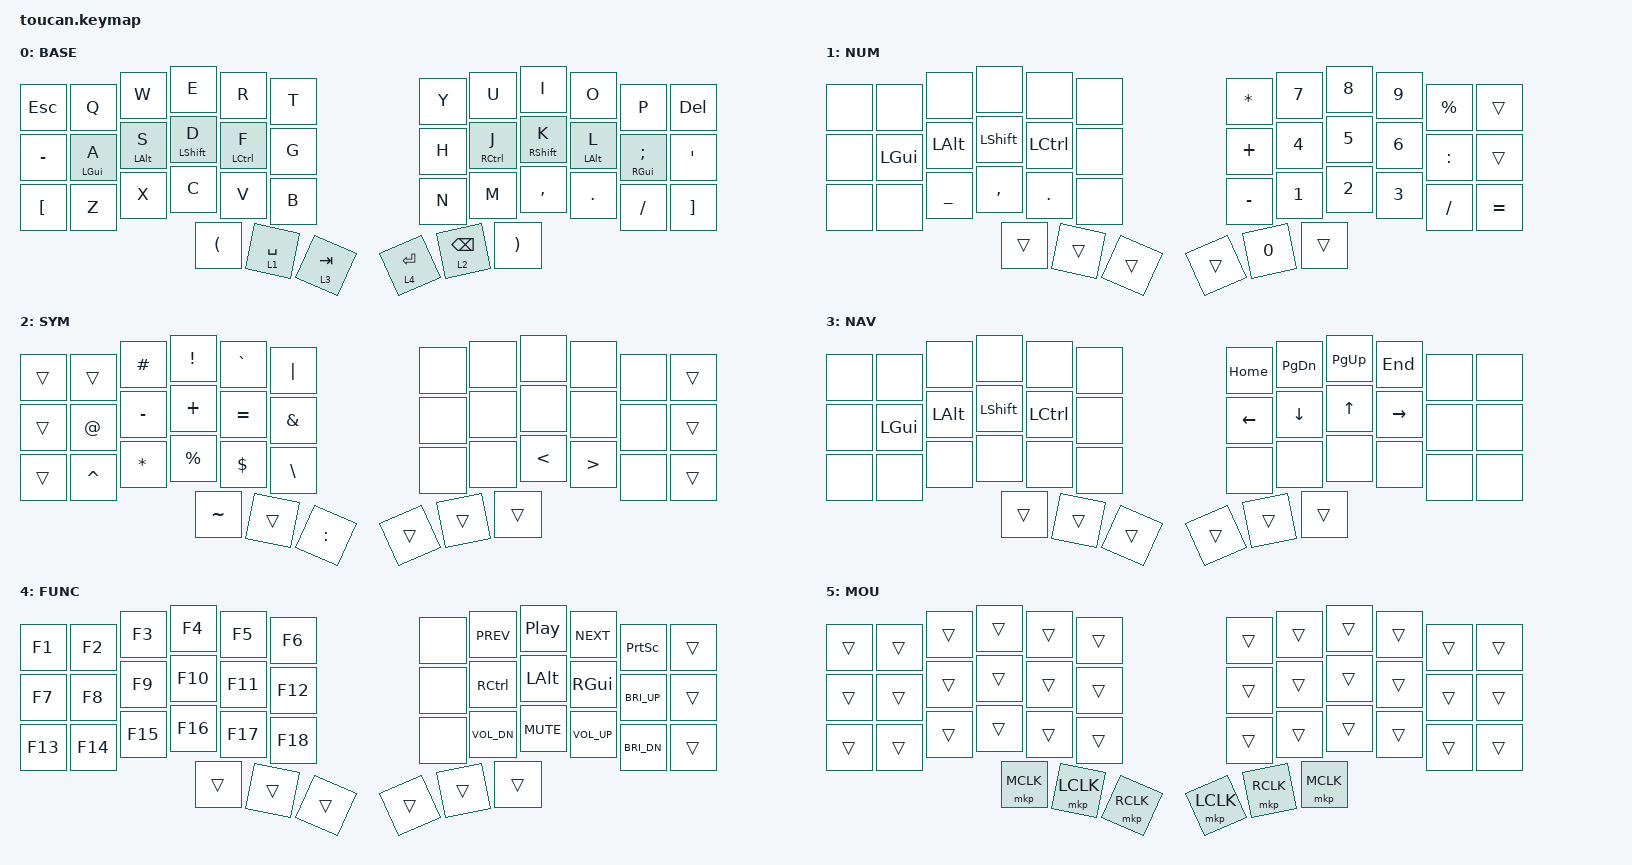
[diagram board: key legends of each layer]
#include <behaviors.dtsi>
#include <dt-bindings/zmk/keys.h>
#include <dt-bindings/zmk/bt.h>
#include <dt-bindings/zmk/outputs.h>
#include <dt-bindings/zmk/pointing.h>

/* #define _BASE 0 */
/* #define _NUM  1 */
/* #define _SYM  2 */
/* #define _NAV  3 */
/* #define _FUNC 4 */
/* #define _MOU  5 */

&caps_word {
    continue-list = <BACKSPACE DELETE UNDERSCORE MINUS>;
};
&lt {
    flavor = "tap-preferred";
    /* require-prior-idle-ms = <150>; */
    tapping-term-ms = <170>;
    quick-tap-ms = <165>;
};

/ {
    behaviors {
        /omit-if-no-ref/ bspc_del: backspace_delete {
            compatible = "zmk,behavior-mod-morph";
            #binding-cells = <0>;
            bindings = <&kp BACKSPACE>, <&kp DELETE>;
            mods = <MOD_LSFT>;
        };

        /omit-if-no-ref/ hrm: home_row_mod {
            compatible = "zmk,behavior-hold-tap";
            #binding-cells = <2>;
            flavor = "tap-preferred";
            /* require-prior-idle-ms = <150>; */
            tapping-term-ms = <170>;
            quick-tap-ms = <165>;
            bindings = <&kp>, <&kp>;
            // hold-trigger-key-positions = < ... >; // List of keys on the right side of the keyboard
            // hold-trigger-on-release;
        };

        /omit-if-no-ref/ hrl: home_row_layer {
            compatible = "zmk,behavior-hold-tap";
            #binding-cells = <2>;
            flavor = "tap-preferred";
            /* require-prior-idle-ms = <150>; */
            tapping-term-ms = <170>;
            quick-tap-ms = <165>;
            bindings = <&mo>, <&kp>;
            // hold-trigger-key-positions = < ... >; // List of keys on the right side of the keyboard
            // hold-trigger-on-release;
        };
    };

    // conditional_layers {
    //     compatible = "zmk,conditional-layers";
    //     tri_layer {
    //         if-layers = <1 2>;
    //         then-layer = <3>;
    //     };
    // };

    combos {
        compatible = "zmk,combos";
        /* combo_ret { */
        /*     timeout-ms = <50>; */
        /*     require-prior-idle-ms = <100>; */
        /*     key-positions = <31 32>; */
        /*     bindings = <&kp RET>; */
        /* }; */
        combo_cw {
            timeout-ms = <50>;
            require-prior-idle-ms = <100>;
            key-positions = <32 33>;
            bindings = <&caps_word>;
        };
        combo_caps {
            timeout-ms = <50>;
            require-prior-idle-ms = <100>;
            key-positions = <33 34>;
            bindings = <&kp CAPS>;
        };
    };

    keymap {
        compatible = "zmk,keymap";

        base {
            display-name = "BASE";
            bindings = <
//    ┌─────┬─────────────┬─────────────┬─────────────┬─────────────┬────────────┐   ┌────────────┬─────────────┬─────────────┬─────────────┬─────────────┬─────┐
//    │ esc │      Q      │      W      │      E      │      R      │     T      │   │     Y      │      U      │      I      │      O      │      P      │ del │
//    ├─────┼─────────────┼─────────────┼─────────────┼─────────────┼────────────┤   ├────────────┼─────────────┼─────────────┼─────────────┼─────────────┼─────┤
//    │  -  │ &hrm lgui A │ &hrm lalt S │ &hrm lsft D │ &hrm lctl F │     G      │   │     H      │ &hrm rctl J │ &hrm rsft K │ &hrm lalt L │ &hrm rgui ; │  '  │
//    ├─────┼─────────────┼─────────────┼─────────────┼─────────────┼────────────┤   ├────────────┼─────────────┼─────────────┼─────────────┼─────────────┼─────┤
//    │  [  │      Z      │      X      │      C      │      V      │     B      │   │     N      │      M      │      ,      │      .      │      /      │  ]  │
//    └─────┴─────────────┴─────────────┼─────────────┼─────────────┼────────────┤   ├────────────┼─────────────┼─────────────┼─────────────┴─────────────┴─────┘
//                                      │      (      │ &hrl 1 spc  │ &hrl 3 tab │   │ &hrl 4 ent │ &hrl 2 bspc │      )      │
//                                      └─────────────┴─────────────┴────────────┘   └────────────┴─────────────┴─────────────┘
  &kp ESC     &kp Q          &kp W         &kp E          &kp R          &kp T      &kp Y   &kp U          &kp I          &kp O         &kp P            &kp DEL
  &kp MINUS   &hrm LGUI A    &hrm LALT S   &hrm LSHFT D   &hrm LCTRL F   &kp G      &kp H   &hrm RCTRL J   &hrm RSHFT K   &hrm LALT L   &hrm RGUI SEMI   &kp SQT
  &kp LBKT    &kp Z          &kp X         &kp C          &kp V          &kp B      &kp N   &kp M          &kp COMMA      &kp DOT       &kp FSLH         &kp RBKT
  &kp LPAR    &hrl 1 SPACE   &hrl 3 TAB    &hrl 4 RET     &hrl 2 BSPC    &kp RPAR
            >;
        };

/* #define _BASE 0 */
/* #define _NUM  1 */
/* #define _SYM  2 */
/* #define _NAV  3 */
/* #define _FUNC 4 */
/* #define _MOU  5 */

        num {
            display-name = "NUM";
            bindings = <
//    ┌─────┬──────┬──────┬──────┬──────┬─────┐   ┌─────┬───┬─────┬───┬───┬─────┐
//    │     │      │      │      │      │     │   │  *  │ 7 │  8  │ 9 │ % │     │
//    ├─────┼──────┼──────┼──────┼──────┼─────┤   ├─────┼───┼─────┼───┼───┼─────┤
//    │     │ lgui │ lalt │ lsft │ lctl │     │   │  +  │ 4 │  5  │ 6 │ : │     │
//    ├─────┼──────┼──────┼──────┼──────┼─────┤   ├─────┼───┼─────┼───┼───┼─────┤
//    │     │      │  _   │  ,   │  .   │     │   │  -  │ 1 │  2  │ 3 │ / │  =  │
//    └─────┴──────┴──────┼──────┼──────┼─────┤   ├─────┼───┼─────┼───┴───┴─────┘
//                        │      │      │     │   │     │ 0 │     │
//                        └──────┴──────┴─────┘   └─────┴───┴─────┘
  &none    &none      &none       &none       &none       &none    &kp STAR    &kp N7   &kp N8   &kp N9   &kp PRCNT   &trans
  &none    &kp LGUI   &kp LALT    &kp LSHFT   &kp LCTRL   &none    &kp PLUS    &kp N4   &kp N5   &kp N6   &kp COLON   &trans
  &none    &none      &kp UNDER   &kp COMMA   &kp DOT     &none    &kp MINUS   &kp N1   &kp N2   &kp N3   &kp FSLH    &kp EQUAL
  &trans   &trans     &trans      &trans      &kp N0      &trans
            >;
        };

        sym {
            display-name = "SYM";
            bindings = <
//    ┌─────┬─────┬───┬───┬─────┬───┐   ┌─────┬─────┬─────┬─────┬─────┬─────┐
//    │     │     │ # │ ! │  `  │ | │   │     │     │     │     │     │     │
//    ├─────┼─────┼───┼───┼─────┼───┤   ├─────┼─────┼─────┼─────┼─────┼─────┤
//    │     │  @  │ - │ + │  =  │ & │   │     │     │     │     │     │     │
//    ├─────┼─────┼───┼───┼─────┼───┤   ├─────┼─────┼─────┼─────┼─────┼─────┤
//    │     │  ^  │ * │ % │  $  │ \ │   │     │     │  <  │  >  │     │     │
//    └─────┴─────┴───┼───┼─────┼───┤   ├─────┼─────┼─────┼─────┴─────┴─────┘
//                    │ ~ │     │ : │   │     │     │     │
//                    └───┴─────┴───┘   └─────┴─────┴─────┘
  &trans      &trans      &kp HASH    &kp EXCL    &kp GRAVE   &kp PIPE   &none   &none   &none    &none    &none   &trans
  &trans      &kp AT      &kp MINUS   &kp PLUS    &kp EQUAL   &kp AMPS   &none   &none   &none    &none    &none   &trans
  &trans      &kp CARET   &kp STAR    &kp PRCNT   &kp DLLR    &kp BSLH   &none   &none   &kp LT   &kp GT   &none   &trans
  &kp TILDE   &trans      &kp COLON   &trans      &trans      &trans
            >;
        };

        nav {
            display-name = "NAV";
            bindings = <
//    ┌─────┬──────┬──────┬──────┬──────┬─────┐   ┌──────┬──────┬──────┬──────┬─────┬─────┐
//    │     │      │      │      │      │     │   │ home │ pgdn │ pgup │ end  │     │     │
//    ├─────┼──────┼──────┼──────┼──────┼─────┤   ├──────┼──────┼──────┼──────┼─────┼─────┤
//    │     │ lgui │ lalt │ lsft │ lctl │     │   │ left │ down │  up  │ rght │     │     │
//    ├─────┼──────┼──────┼──────┼──────┼─────┤   ├──────┼──────┼──────┼──────┼─────┼─────┤
//    │     │      │      │      │      │     │   │      │      │      │      │     │     │
//    └─────┴──────┴──────┼──────┼──────┼─────┤   ├──────┼──────┼──────┼──────┴─────┴─────┘
//                        │      │      │     │   │      │      │      │
//                        └──────┴──────┴─────┘   └──────┴──────┴──────┘
  &none    &none      &none      &none       &none       &none    &kp HOME   &kp PG_DN   &kp PG_UP   &kp END     &none   &none
  &none    &kp LGUI   &kp LALT   &kp LSHFT   &kp LCTRL   &none    &kp LEFT   &kp DOWN    &kp UP      &kp RIGHT   &none   &none
  &none    &none      &none      &none       &none       &none    &none      &none       &none       &none       &none   &none
  &trans   &trans     &trans     &trans      &trans      &trans
            >;
        };

        func {
            display-name = "FUNC";
            bindings = <
//    ┌─────┬─────┬─────┬─────┬─────┬─────┐   ┌─────┬──────┬──────┬──────┬──────┬─────┐
//    │ f1  │ f2  │ f3  │ f4  │ f5  │ f6  │   │     │ prev │ play │ next │ pscr │     │
//    ├─────┼─────┼─────┼─────┼─────┼─────┤   ├─────┼──────┼──────┼──────┼──────┼─────┤
//    │ f7  │ f8  │ f9  │ f10 │ f11 │ f12 │   │     │ rctl │ lalt │ rgui │ bri+ │     │
//    ├─────┼─────┼─────┼─────┼─────┼─────┤   ├─────┼──────┼──────┼──────┼──────┼─────┤
//    │ f13 │ f14 │ f15 │ f16 │ f17 │ f18 │   │     │ vold │ mute │ volu │ bri- │     │
//    └─────┴─────┴─────┼─────┼─────┼─────┤   ├─────┼──────┼──────┼──────┴──────┴─────┘
//                      │     │     │     │   │     │      │      │
//                      └─────┴─────┴─────┘   └─────┴──────┴──────┘
  &kp F1    &kp F2    &kp F3    &kp F4    &kp F5    &kp F6    &none   &kp C_PREV     &kp C_PP     &kp C_NEXT     &kp PRINTSCREEN   &trans
  &kp F7    &kp F8    &kp F9    &kp F10   &kp F11   &kp F12   &none   &kp RCTRL      &kp LALT     &kp RGUI       &kp C_BRI_UP      &trans
  &kp F13   &kp F14   &kp F15   &kp F16   &kp F17   &kp F18   &none   &kp C_VOL_DN   &kp C_MUTE   &kp C_VOL_UP   &kp C_BRI_DN      &trans
  &trans    &trans    &trans    &trans    &trans    &trans
            >;
        };

        mouse {
            display-name = "MOU";
            bindings = <
//    ┌─────┬─────┬─────┬──────┬──────┬──────┐   ┌──────┬──────┬──────┬─────┬─────┬─────┐
//    │     │     │     │      │      │      │   │      │      │      │     │     │     │
//    ├─────┼─────┼─────┼──────┼──────┼──────┤   ├──────┼──────┼──────┼─────┼─────┼─────┤
//    │     │     │     │      │      │      │   │      │      │      │     │     │     │
//    ├─────┼─────┼─────┼──────┼──────┼──────┤   ├──────┼──────┼──────┼─────┼─────┼─────┤
//    │     │     │     │      │      │      │   │      │      │      │     │     │     │
//    └─────┴─────┴─────┼──────┼──────┼──────┤   ├──────┼──────┼──────┼─────┴─────┴─────┘
//                      │ mclk │ lclk │ rclk │   │ lclk │ rclk │ mclk │
//                      └──────┴──────┴──────┘   └──────┴──────┴──────┘
  &trans      &trans      &trans      &trans      &trans      &trans      &trans   &trans   &trans   &trans   &trans   &trans
  &trans      &trans      &trans      &trans      &trans      &trans      &trans   &trans   &trans   &trans   &trans   &trans
  &trans      &trans      &trans      &trans      &trans      &trans      &trans   &trans   &trans   &trans   &trans   &trans
  &mkp MCLK   &mkp LCLK   &mkp RCLK   &mkp LCLK   &mkp RCLK   &mkp MCLK
            >;
        };

    };
};
